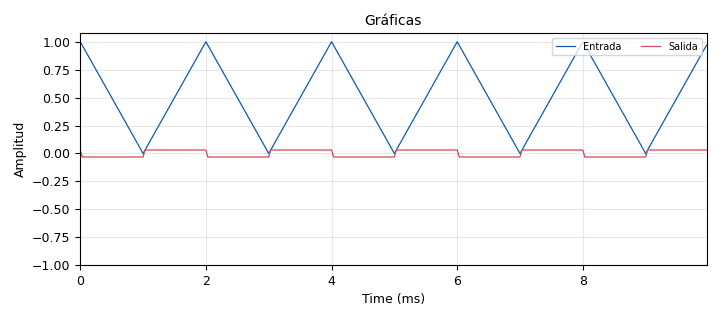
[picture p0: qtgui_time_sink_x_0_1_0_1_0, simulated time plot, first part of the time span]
options:
  parameters:
    generate_options: qt_gui
    id: dif
    output_language: python
    title: Lab 1 Comu2
  states: {}

blocks:
- name: samp_rate
  id: variable
  parameters:
    value: '32000'
  states: {}
- name: analog_sig_source_x_0
  id: analog_sig_source_x
  parameters:
    amp: '1'
    freq: '500'
    offset: '0'
    phase: '0'
    samp_rate: samp_rate
    type: float
    waveform: analog.GR_TRI_WAVE
  states: {}
- name: blocks_throttle2_0_0
  id: blocks_throttle2
  parameters:
    samples_per_second: samp_rate
    type: float
  states: {state: disabled}
- name: blocks_throttle2_0_0_1_0
  id: blocks_throttle2
  parameters:
    samples_per_second: samp_rate
    type: float
  states: {}
- name: blocks_vector_source_x_0
  id: blocks_vector_source_x
  parameters:
    repeat: 'True'
    type: float
    vector: (1,2,3,4,5,0)
  states: {state: disabled}
- name: epy_block_0
  id: epy_block
  parameters:
    _source_code: |-
      """
      Jeferson Uribe Correa
      """
      import numpy as np
      from gnuradio import gr

      class blk(gr.sync_block):
          def __init__(self):
              gr.sync_block.__init__(
                  self,
                  name='Diferenciador', # Nombre del bloq
                  in_sig=[np.float32],
                  out_sig=[np.float32]
              )
              self.last_sample = 0

          def work(self, input_items, output_items):
              x = input_items[0]   # Entrada
              y0 = output_items[0] # Salida

              y0[0] = x[0] - self.last_sample

              for i in range(1, len(x)):
                  y0[i] = x[i] - x[i-1]

              self.last_sample = x[-1]

              return len(y0)
  states: {state: disabled}
- name: epy_block_0_1_0
  id: epy_block
  parameters:
    _source_code: |-
      """
      Jeferson Uribe Correa
      """
      import numpy as np
      from gnuradio import gr

      class blk(gr.sync_block):
          def __init__(self):
              gr.sync_block.__init__(
                  self,
                  name='Diferenciador', # Nombre del bloq
                  in_sig=[np.float32],
                  out_sig=[np.float32]
              )
              self.last_sample = 0

          def work(self, input_items, output_items):
              x = input_items[0]   # Entrada
              y0 = output_items[0] # Salida

              y0[0] = x[0] - self.last_sample

              for i in range(1, len(x)):
                  y0[i] = x[i] - x[i-1]

              self.last_sample = x[-1]

              return len(y0)
  states: {}
- name: qtgui_time_sink_x_0_1_0_0
  id: qtgui_time_sink_x
  parameters:
    ctrlpanel: 'True'
    label1: Entrada
    label2: Salida
    name: '"Gráficas"'
    nconnections: '2'
    size: '64'
    srate: samp_rate
    type: float
    ylabel: Amplitud
    ymax: '5'
    ymin: '-5'
  states: {state: disabled}
- name: qtgui_time_sink_x_0_1_0_1_0
  id: qtgui_time_sink_x
  parameters:
    ctrlpanel: 'True'
    label1: Entrada
    label2: Salida
    name: '"Gráficas"'
    nconnections: '2'
    size: '1024'
    srate: samp_rate
    type: float
    ylabel: Amplitud
  states: {}

connections:
- [analog_sig_source_x_0, '0', epy_block_0_1_0, '0']
- [analog_sig_source_x_0, '0', qtgui_time_sink_x_0_1_0_1_0, '0']
- [blocks_throttle2_0_0, '0', qtgui_time_sink_x_0_1_0_0, '1']
- [blocks_throttle2_0_0_1_0, '0', qtgui_time_sink_x_0_1_0_1_0, '1']
- [blocks_vector_source_x_0, '0', epy_block_0, '0']
- [blocks_vector_source_x_0, '0', qtgui_time_sink_x_0_1_0_0, '0']
- [epy_block_0, '0', blocks_throttle2_0_0, '0']
- [epy_block_0_1_0, '0', blocks_throttle2_0_0_1_0, '0']

metadata:
  file_format: 1
  grc_version: 3.10.12.0
